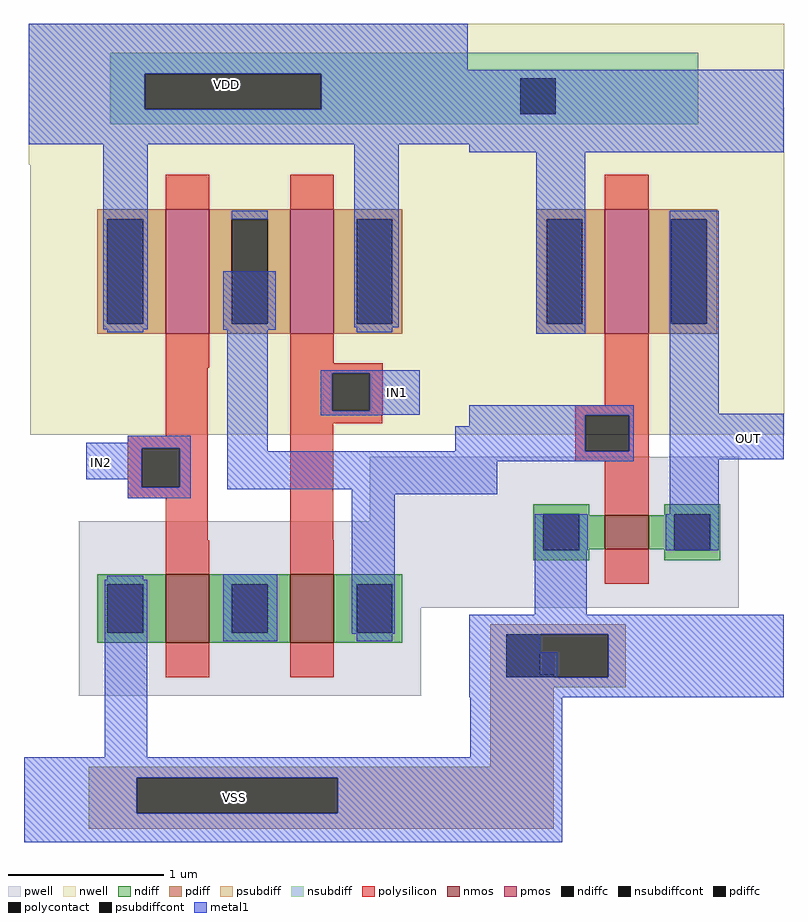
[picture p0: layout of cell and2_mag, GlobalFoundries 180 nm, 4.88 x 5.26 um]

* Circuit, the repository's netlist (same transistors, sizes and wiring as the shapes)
* NGSPICE file created from and2_mag.ext - technology: gf180mcuC

.subckt pmos_3p3_M8SWPS a_n28_n124# a_n116_n80# a_28_n80# w_n202_n210#
X0 a_28_n80# a_n28_n124# a_n116_n80# w_n202_n210# pfet_03v3 ad=0.352p pd=2.48u as=0.352p ps=2.48u w=0.8u l=0.28u
.ends

.subckt pmos_3p3_MQGBLR a_n28_n124# a_n116_n80# a_28_n80# w_n202_n210#
X0 a_28_n80# a_n28_n124# a_n116_n80# w_n202_n210# pfet_03v3 ad=0.352p pd=2.48u as=0.352p ps=2.48u w=0.8u l=0.28u
.ends

.subckt nmos_3p3_DDNVWA a_n120_n36# a_28_n22# a_n28_n66# VSUBS
X0 a_28_n22# a_n28_n66# a_n120_n36# VSUBS nfet_03v3 ad=0.152p pd=1.64u as=0.152p ps=1.64u w=0.22u l=0.28u
.ends

.subckt GF_INV_MAG VDD VSS IN OUT
Xpmos_3p3_MQGBLR_0 IN VDD OUT VDD pmos_3p3_MQGBLR
Xnmos_3p3_DDNVWA_0 VSS OUT IN VSS nmos_3p3_DDNVWA
.ends

.subckt nmos_3p3_5QNVWA a_n116_n44# a_28_n44# a_n28_n88# VSUBS
X0 a_28_n44# a_n28_n88# a_n116_n44# VSUBS nfet_03v3 ad=0.194p pd=1.76u as=0.194p ps=1.76u w=0.44u l=0.28u
.ends

.subckt and2_mag IN2 IN1 OUT VDD VSS
Xpmos_3p3_M8SWPS_0 IN1 GF_INV_MAG_0/IN VDD VDD pmos_3p3_M8SWPS
Xpmos_3p3_M8SWPS_1 IN2 VDD GF_INV_MAG_0/IN VDD pmos_3p3_M8SWPS
XGF_INV_MAG_0 VDD VSS GF_INV_MAG_0/IN OUT GF_INV_MAG
Xnmos_3p3_5QNVWA_0 VSS m1_186_70# IN2 VSS nmos_3p3_5QNVWA
Xnmos_3p3_5QNVWA_1 m1_186_70# GF_INV_MAG_0/IN IN1 VSS nmos_3p3_5QNVWA
.ends

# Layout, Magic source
magic
tech gf180mcuC
magscale 1 10
<< nwell >>
rect -64 804 906 863
rect -64 710 629 804
rect 788 734 796 804
rect -64 708 539 710
rect -64 682 500 708
<< pwell >>
rect 374 218 577 307
rect 434 113 577 218
<< psubdiff >>
rect 529 28 593 89
rect 529 -91 610 28
rect 13 -105 610 -91
rect 13 -151 75 -105
rect 333 -151 610 -105
rect 13 -171 610 -151
<< nsubdiff >>
rect 41 799 796 826
rect 41 753 85 799
rect 312 753 796 799
rect 41 743 796 753
rect 41 734 552 743
rect 788 734 796 743
<< psubdiffcont >>
rect 75 -151 333 -105
<< nsubdiffcont >>
rect 85 753 312 799
<< polysilicon >>
rect 311 421 391 427
rect 112 334 166 421
rect 63 318 166 334
rect 63 268 81 318
rect 130 268 166 318
rect 63 254 166 268
rect 112 200 166 254
rect 272 414 391 421
rect 272 366 326 414
rect 374 366 391 414
rect 272 360 391 366
rect 272 350 390 360
rect 272 200 327 350
<< polycontact >>
rect 81 268 130 318
rect 326 366 374 414
<< metal1 >>
rect -64 804 500 863
rect -64 799 629 804
rect -64 753 85 799
rect 312 753 629 799
rect -64 710 629 753
rect -64 708 539 710
rect 32 471 89 708
rect 186 470 253 545
rect 354 473 411 708
rect 63 325 144 334
rect 10 318 144 325
rect 10 278 81 318
rect 63 268 81 278
rect 130 268 144 318
rect 63 254 144 268
rect 191 314 243 470
rect 311 414 438 418
rect 311 366 326 414
rect 374 366 438 414
rect 311 361 438 366
rect 311 360 391 361
rect 484 314 502 346
rect 520 344 528 345
rect 520 314 538 344
rect 191 265 538 314
rect 840 310 890 350
rect 351 259 538 265
rect 34 -79 88 149
rect 186 70 255 156
rect 351 80 406 259
rect 529 56 593 89
rect 506 0 615 56
rect 506 -1 621 0
rect 503 -79 621 -1
rect -70 -105 621 -79
rect -70 -151 75 -105
rect 333 -151 621 -105
rect -70 -188 621 -151
use GF_INV_MAG  GF_INV_MAG_0
transform 1 0 620 0 1 173
box -118 -175 286 666
use nmos_3p3_5QNVWA  nmos_3p3_5QNVWA_0
transform 1 0 140 0 1 112
box -140 -112 140 112
use nmos_3p3_5QNVWA  nmos_3p3_5QNVWA_1
transform 1 0 300 0 1 112
box -140 -112 140 112
use pmos_3p3_M8SWPS  pmos_3p3_M8SWPS_0
transform 1 0 300 0 1 545
box -202 -210 202 210
use pmos_3p3_M8SWPS  pmos_3p3_M8SWPS_1
transform 1 0 140 0 1 545
box -202 -210 202 210
<< labels >>
flabel metal1 30 300 30 300 0 FreeSans 320 0 0 0 IN2
port 0 nsew
flabel metal1 410 390 410 390 0 FreeSans 320 0 0 0 IN1
port 1 nsew
flabel metal1 860 330 860 330 0 FreeSans 320 0 0 0 OUT
port 2 nsew
flabel psubdiffcont 200 -130 200 -130 0 FreeSans 320 0 0 0 VSS
port 4 nsew
flabel nsubdiffcont 190 785 190 785 0 FreeSans 320 0 0 0 VDD
port 3 nsew
<< end >>

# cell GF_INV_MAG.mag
magic
tech gf180mcuC
magscale 1 10
<< nwell >>
rect -118 526 286 666
rect -84 525 271 526
rect -32 292 31 525
<< psubdiff >>
rect -91 -94 83 -81
rect -91 -149 -71 -94
rect 60 -149 83 -94
rect -91 -162 83 -149
<< nsubdiff >>
rect -80 620 176 642
rect -80 574 -53 620
rect -7 574 176 620
rect -80 561 176 574
<< psubdiffcont >>
rect -71 -149 60 -94
<< nsubdiffcont >>
rect -53 574 -7 620
<< polysilicon >>
rect 56 200 112 248
rect 18 187 112 200
rect 18 141 31 187
rect 87 141 112 187
rect 18 128 112 141
rect 56 103 112 128
<< polycontact >>
rect 31 141 87 187
<< metal1 >>
rect -118 620 286 631
rect -118 574 -53 620
rect -7 574 286 620
rect -118 525 286 574
rect -32 292 31 525
rect -118 187 93 200
rect -118 141 31 187
rect 87 141 93 187
rect -118 128 93 141
rect 139 189 202 450
rect 139 131 286 189
rect -34 -69 33 60
rect 139 14 202 131
rect -118 -94 286 -69
rect -118 -149 -71 -94
rect 60 -149 286 -94
rect -118 -175 286 -149
use nmos_3p3_DDNVWA  nmos_3p3_DDNVWA_0
transform 1 0 84 0 1 37
box -144 -97 144 97
use pmos_3p3_MQGBLR  pmos_3p3_MQGBLR_0
transform 1 0 84 0 1 372
box -202 -210 202 210
<< labels >>
flabel metal1 -106 158 -106 158 0 FreeSans 640 0 0 0 IN
port 2 nsew
flabel metal1 276 159 276 159 0 FreeSans 640 0 0 0 OUT
port 3 nsew
flabel psubdiffcont -11 -123 -11 -123 0 FreeSans 640 0 0 0 VSS
port 4 nsew
<< end >>

# cell nmos_3p3_5QNVWA: kit device nmos_3p3, w 0.440 l 0.280 m 1 nf 1 diffcov 100 polycov 100 guard 0 glc 0 grc 0 gtc 0 gbc 0 tbcov 100 rlcov 100 topc 0 botc 0 poverlap 0 doverlap 1 lmin 0.28 wmin 0.22 full_metal 0 compatible {nmos_3p3 nmos_6p0 nmos_6p0_nat}

# cell pmos_3p3_M8SWPS: kit device pmos_3p3, w 0.80 l 0.280 m 1 nf 1 diffcov 100 polycov 100 guard 0 glc 0 grc 0 gtc 0 gbc 0 tbcov 100 rlcov 100 topc 0 botc 0 poverlap 0 doverlap 1 lmin 0.28 wmin 0.22 full_metal 0 compatible {pmos_3p3 pmos_6p0}

# cell nmos_3p3_DDNVWA: kit device nmos_3p3, w 0.220 l 0.280 m 1 nf 1 diffcov 100 polycov 100 guard 0 glc 0 grc 0 gtc 0 gbc 0 tbcov 100 rlcov 100 topc 0 botc 0 poverlap 0 doverlap 1 lmin 0.28 wmin 0.22 full_metal 0 compatible {nmos_3p3 nmos_6p0 nmos_6p0_nat}

# cell pmos_3p3_MQGBLR: kit device pmos_3p3, w 0.8 l 0.280 m 1 nf 1 diffcov 100 polycov 100 guard 0 glc 0 grc 0 gtc 0 gbc 0 tbcov 100 rlcov 100 topc 0 botc 0 poverlap 0 doverlap 1 lmin 0.28 wmin 0.22 full_metal 0 compatible {pmos_3p3 pmos_6p0}
